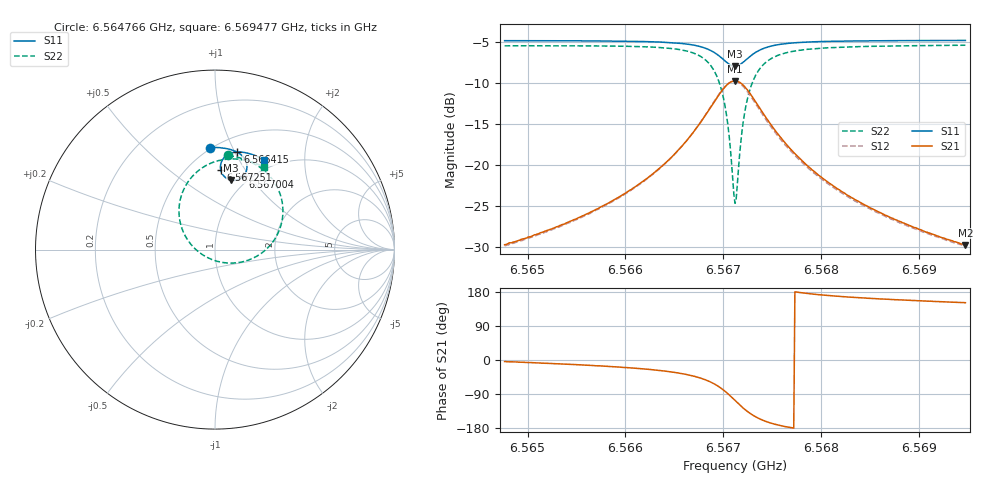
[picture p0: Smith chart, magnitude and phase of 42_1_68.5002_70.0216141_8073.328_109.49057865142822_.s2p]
#  HZ  S  RI  R  50.00
! Rohde & Schwarz Vector Network Analyzer
! Rohde-Schwarz,ZNB20-2Port,1311601062101988,3.16
! Created: UTC 3/20/2024, 4:50:22 PM
! freq[Hz]  re:S11  im:S11  re:S21  im:S21  re:S12  im:S12  re:S22  im:S22
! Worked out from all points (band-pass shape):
!   401 points, 6.564766 GHz to 6.569477 GHz, reference 50 ohm
!   highest |S21| = -9.79 dB at 6.567121 GHz (marker M1); lowest = -29.8 dB at 6.569477 GHz (marker M2)
!   |S21| within 3 dB of the highest: 6.566885 GHz to 6.567356 GHz (471.4 kHz wide, 0.00718 % of centre)
!   lowest |S11| = -8.0 dB at 6.567121 GHz (marker M3), VSWR 2.32, Z = 42.8 + j39.4 ohm
!   |S11| at or under -10 dB: nowhere
!   |S22| runs from -24.7 to -5.4 dB; largest |S21 - S12| = 0.017
!   S11 on the Smith chart (normalised r, x): 6.564766 GHz: 0.49, +0.82; 6.566415 GHz: 0.65, +1.02; 6.567004 GHz: 0.92, +0.93; 6.567251 GHz: 0.71, +0.78; 6.569477 GHz: 0.86, +1.29
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6.5647658e9  -0.0296 0.5687  0.0324 -0.00236  0.0318 -0.00291  0.0747 0.5243
6.5655549e9  0.0372 0.5667  0.0472 -0.0109  0.0463 -0.0115  0.1561 0.5059
6.5660025e9  0.0792 0.5595  0.0631 -0.0228  0.0621 -0.0235  0.216 0.4801
6.566344e9  0.1162 0.5465  0.0835 -0.0436  0.0825 -0.0445  0.2772 0.4371
6.5664147e9  0.1248 0.5423  0.0895 -0.0508  0.0882 -0.052  0.2925 0.4224
6.5666503e9  0.1558 0.518  0.1121 -0.0927  0.1104 -0.0946  0.3502 0.3405
6.5668269e9  0.1762 0.4787  0.122 -0.1624  0.1186 -0.1661  0.3784 0.2059
6.5669329e9  0.1749 0.4386  0.1007 -0.2328  0.0939 -0.2377  0.341 0.0715
6.5670036e9  0.1566 0.4079  0.0542 -0.2851  0.0428 -0.2887  0.2524 -0.0246
6.5670507e9  0.1334 0.3918  0.00294 -0.3106  -0.0115 -0.311  0.156 -0.0674
6.5670978e9  0.1029 0.3856  -0.0602 -0.3168  -0.0758 -0.312  0.0405 -0.0714
6.5671214e9  0.0869 0.3876  -0.0929 -0.3104  -0.1078 -0.3027  -0.017 -0.0555
6.5671449e9  0.0719 0.393  -0.1234 -0.2978  -0.1371 -0.2876  -0.0695 -0.0284
6.5672038e9  0.0429 0.4181  -0.1818 -0.2457  -0.1899 -0.2317  -0.1638 0.0725
6.5672509e9  0.0321 0.4433  -0.2051 -0.196  -0.2087 -0.1818  -0.1962 0.1631
6.5673451e9  0.0352 0.487  -0.2068 -0.1113  -0.2048 -0.1003  -0.184 0.3109
6.5674865e9  0.0624 0.5233  -0.1709 -0.0413  -0.167 -0.0353  -0.1063 0.4281
6.5676513e9  0.0942 0.5392  -0.1316 -0.008  -0.1282 -0.00474  -0.0245 0.4808
6.5679104e9  0.1331 0.5439  -0.0922 0.00949  -0.09 0.0109  0.0624 0.5036
6.5682755e9  0.1743 0.5389  -0.0629 0.0155  -0.0615 0.0161  0.1379 0.5028
6.5686995e9  0.213 0.5278  -0.045 0.0165  -0.0441 0.0167  0.1964 0.4904
6.5694769e9  0.2734 0.5015  -0.0284 0.0156  -0.0277 0.0156  0.2725 0.4594
